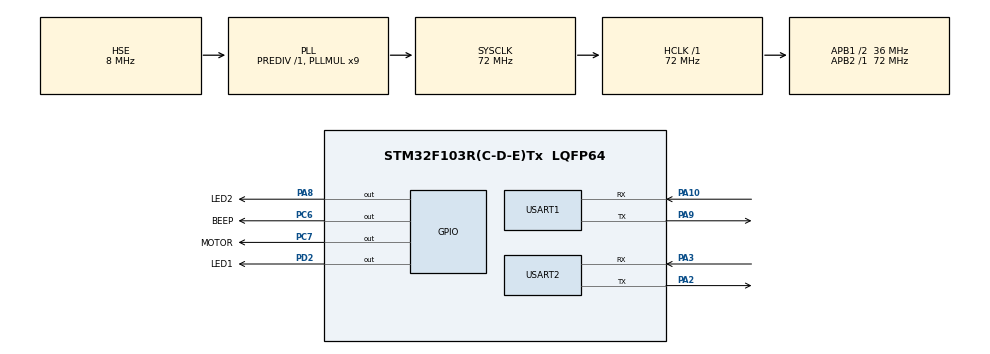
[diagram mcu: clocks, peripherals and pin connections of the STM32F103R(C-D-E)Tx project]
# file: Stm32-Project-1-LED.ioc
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Dma.Request0=USART2_RX
Dma.USART2_RX.0.Direction=DMA_PERIPH_TO_MEMORY
Dma.USART2_RX.0.Instance=DMA1_Channel6
Dma.USART2_RX.0.MemDataAlignment=DMA_MDATAALIGN_BYTE
Dma.USART2_RX.0.MemInc=DMA_MINC_ENABLE
Dma.USART2_RX.0.Mode=DMA_NORMAL
Dma.USART2_RX.0.PeriphDataAlignment=DMA_PDATAALIGN_BYTE
Dma.USART2_RX.0.PeriphInc=DMA_PINC_DISABLE
Dma.USART2_RX.0.Priority=DMA_PRIORITY_LOW
Mcu.Family=STM32F1
Mcu.Name=STM32F103R(C-D-E)Tx
Mcu.Package=LQFP64
NVIC.DMA1_Channel6_IRQn=true\:0\:0\:false\:false\:true\:false\:true\:true
NVIC.PriorityGroup=NVIC_PRIORITYGROUP_4
NVIC.USART2_IRQn=true\:0\:0\:false\:false\:true\:true\:true\:true
PA10.Mode=Asynchronous
PA10.Signal=USART1_RX
PA13.Mode=Serial_Wire
PA13.Signal=SYS_JTMS-SWDIO
PA14.Mode=Serial_Wire
PA14.Signal=SYS_JTCK-SWCLK
PA2.Mode=Asynchronous
PA2.Signal=USART2_TX
PA3.Mode=Asynchronous
PA3.Signal=USART2_RX
PA8.GPIO_Label=LED2
PA8.GPIO_PuPd=GPIO_PULLUP
PA8.GPIO_Speed=GPIO_SPEED_FREQ_HIGH
PA8.PinState=GPIO_PIN_SET
PA8.Signal=GPIO_Output
PA9.Mode=Asynchronous
PA9.Signal=USART1_TX
PC6.GPIO_Label=BEEP
PC6.GPIO_PuPd=GPIO_PULLUP
PC6.GPIO_Speed=GPIO_SPEED_FREQ_HIGH
PC6.PinState=GPIO_PIN_RESET
PC6.Signal=GPIO_Output
PC7.GPIO_Label=MOTOR
PC7.GPIO_PuPd=GPIO_PULLUP
PC7.GPIO_Speed=GPIO_SPEED_FREQ_HIGH
PC7.Signal=GPIO_Output
PD0-OSC_IN.Mode=HSE-External-Oscillator
PD0-OSC_IN.Signal=RCC_OSC_IN
PD1-OSC_OUT.Mode=HSE-External-Oscillator
PD1-OSC_OUT.Signal=RCC_OSC_OUT
PD2.GPIO_Label=LED1
PD2.GPIO_PuPd=GPIO_PULLUP
PD2.GPIO_Speed=GPIO_SPEED_FREQ_HIGH
PD2.PinState=GPIO_PIN_SET
PD2.Signal=GPIO_Output
ProjectManager.HeapSize=0x200
ProjectManager.StackSize=0x400
ProjectManager.TargetToolchain=MDK-ARM V5.32
RCC.AHBFreq_Value=72000000
RCC.APB1CLKDivider=RCC_HCLK_DIV2
RCC.APB1Freq_Value=36000000
RCC.APB1TimFreq_Value=72000000
RCC.APB2Freq_Value=72000000
RCC.APB2TimFreq_Value=72000000
RCC.HCLKFreq_Value=72000000
RCC.PLLMUL=RCC_PLL_MUL9
RCC.PLLSourceVirtual=RCC_PLLSOURCE_HSE
RCC.SYSCLKFreq_VALUE=72000000
RCC.SYSCLKSource=RCC_SYSCLKSOURCE_PLLCLK
RCC.USBFreq_Value=72000000
TIM4.AutoReloadPreload=TIM_AUTORELOAD_PRELOAD_ENABLE
TIM4.Period=49999
TIM4.Prescaler=7199
USART1.VirtualMode=VM_ASYNC
USART2.VirtualMode=VM_ASYNC
VP_TIM4_VS_ClockSourceINT.Mode=Internal
board=custom

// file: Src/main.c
/* USER CODE BEGIN Header */
/**
  ******************************************************************************
  * @file           : main.c
  * @brief          : Main program body
  ******************************************************************************
  * @attention
  *
  * Copyright (c) 2023 STMicroelectronics.
  * All rights reserved.
  *
  * This software is licensed under terms that can be found in the LICENSE file
  * in the root directory of this software component.
  * If no LICENSE file comes with this software, it is provided AS-IS.
  *
  ******************************************************************************
  */
/* USER CODE END Header */
#include "main.h"
#include "dma.h"
#include "tim.h"
#include "usart.h"
#include "gpio.h"

/* USER CODE BEGIN Includes */
#include "cJSON.h"
#include "stdio.h"
#include "string.h"
/* USER CODE END Includes */

/* USER CODE BEGIN PV */
char ss[1000]="";
char IDstr[20]="222154101127";
/* USER CODE END PV */

void SystemClock_Config(void);

/* USER CODE BEGIN 0 */
int fputc(int ch,FILE *f)
{
	HAL_UART_Transmit(&huart1,(uint8_t *) &ch,1,0xfff);
	return ch;
}

int buildJsonData(char *ss)//构建数据格式
{
	char *cjson_print_buf;
	int len=0;
	cJSON *reported_obj;
	cJSON *device_obj;

	reported_obj=cJSON_CreateObject();
	device_obj=cJSON_CreateObject();

	cJSON_AddStringToObject(device_obj,"ID",IDstr);
	cJSON_AddNumberToObject(reported_obj,"LightIntensity",1057);

	cJSON_AddNumberToObject(reported_obj,"Temp",23.1);

	cJSON_AddNumberToObject(reported_obj,"Humidity",78.3);
	cJSON_AddItemToObject(device_obj,"Devices",reported_obj);

	cjson_print_buf=cJSON_Print(device_obj);
	if(cjson_print_buf!=NULL)
	{
		len=snprintf(ss,2000,"%s",cjson_print_buf);
		cJSON_free(cjson_print_buf);
	}
	cJSON_Delete(device_obj);

	return len;
}

/*{
	"Id":	"222154101127",
	"Devices":	{
		"LED1":		"ON",
		"BEEP":		"OFF",
		"MOTOR":	"OFF"
	}
}*/
int AnalysisJsonData(char *ss)//解析数据//
{
	int ret=0;
	cJSON *receive_obj;//接收整体数据
	cJSON *device_obj;//接收主体项
	cJSON *item_obj;//接收子项
	char *str;
	receive_obj=cJSON_Parse((char *)ss);//转化为cjson格式//
//	printf("A0\r\n");
	if(receive_obj==NULL)
	{
		return ret;
	}
	device_obj=cJSON_GetObjectItem(receive_obj,"ID");//获取ID这一项//
//	printf("A1\r\n");
	if(strcmp(device_obj->valuestring,IDstr))//比较ID,不是则返回//
	{
		ret=1;
		return ret;
	}
	device_obj=cJSON_GetObjectItem(receive_obj,"Devices");//获取Devices这一项
//	printf("A2\r\n");
	item_obj=device_obj->child;//指向Devices中的子项//

	while(item_obj)//分别比较Devices中的子项:LED/BEEP/MOTOR
	{
		//printf("A3\r\n");
		str=item_obj->string;//获取子项中字符串//
		if(!strcmp(str,"LED1"))//判断是否为LED1
		{
//			printf("AN\r\n");
			if(strcmp(item_obj->valuestring,"ON")==0)
			{
				HAL_GPIO_WritePin(LED1_GPIO_Port,LED1_Pin,GPIO_PIN_RESET);
				printf("LED1 ON\r\n");
				ret=2;
			}
			else if(strcmp(item_obj->valuestring,"OFF")==0)
			{
				HAL_GPIO_WritePin(LED1_GPIO_Port,LED1_Pin,GPIO_PIN_SET);
				printf("LED1 OFF\r\n");
				ret=3;
			}
		}
		if(!strcmp(str,"BEEP"))//与上同理//
		{
			if(strcmp(item_obj->valuestring,"ON")==0)
			{
				HAL_GPIO_WritePin(LED2_GPIO_Port,LED2_Pin,GPIO_PIN_RESET);//RESET
				printf("BEEP ON\r\n");
				ret=4;
			}
			else if(strcmp(item_obj->valuestring,"OFF")==0)
			{
				HAL_GPIO_WritePin(LED2_GPIO_Port,LED2_Pin,GPIO_PIN_SET);
				printf("BEEP OFF\r\n");
				ret=5;
			}
		}
		if(!strcmp(str,"MOTOR"))//与上同理//
		{
			if(strcmp(item_obj->valuestring,"ON")==0)
			{
				HAL_GPIO_WritePin(MOTOR_GPIO_Port,MOTOR_Pin,GPIO_PIN_SET);//RESET
				printf("MOTOR ON\r\n");
				ret=6;
			}
			else if(strcmp(item_obj->valuestring,"OFF")==0)
			{
				HAL_GPIO_WritePin(MOTOR_GPIO_Port,MOTOR_Pin,GPIO_PIN_RESET);
				printf("MOTOR OFF\r\n");
				ret=7;
			}
		}
		item_obj=item_obj->next;//获取下一个子项
	}
	cJSON_Delete(receive_obj);//释放数据
	return ret;
}

/* USER CODE END 0 */

int main(void)
{

  /* MCU Configuration--------------------------------------------------------*/

  /* Reset of all peripherals, Initializes the Flash interface and the Systick. */
  HAL_Init();

  /* Configure the system clock */
  SystemClock_Config();

  /* Initialize all configured peripherals */
  MX_GPIO_Init();
  MX_DMA_Init();
  MX_USART1_UART_Init();
  MX_USART2_UART_Init();
  MX_TIM4_Init();
  /* USER CODE BEGIN 2 */
	HAL_UARTEx_ReceiveToIdle_DMA(&huart2,Uart2_rx_buffer,BUF_SIZE);//&huart2
  /* USER CODE END 2 */

  /* Infinite loop */
  /* USER CODE BEGIN WHILE */
  while (1)
  {
		buildJsonData(ss);
		HAL_UART_Transmit(&huart2,(uint8_t *)ss,strlen(ss),0xffff);	//将接收到的数据再发回上位机
		HAL_UART_Transmit(&huart1,(uint8_t *)ss,strlen(ss),0xffff);
		memset(ss,0,1000);//清空数据
		HAL_Delay(2000);
    /* USER CODE END WHILE */

  }
}

void SystemClock_Config(void)
{
  RCC_OscInitTypeDef RCC_OscInitStruct = {0};
  RCC_ClkInitTypeDef RCC_ClkInitStruct = {0};

  /** Initializes the RCC Oscillators according to the specified parameters
  * in the RCC_OscInitTypeDef structure.
  */
  RCC_OscInitStruct.OscillatorType = RCC_OSCILLATORTYPE_HSE;
  RCC_OscInitStruct.HSEState = RCC_HSE_ON;
  RCC_OscInitStruct.HSEPredivValue = RCC_HSE_PREDIV_DIV1;
  RCC_OscInitStruct.HSIState = RCC_HSI_ON;
  RCC_OscInitStruct.PLL.PLLState = RCC_PLL_ON;
  RCC_OscInitStruct.PLL.PLLSource = RCC_PLLSOURCE_HSE;
  RCC_OscInitStruct.PLL.PLLMUL = RCC_PLL_MUL9;
  if (HAL_RCC_OscConfig(&RCC_OscInitStruct) != HAL_OK)
  {
    Error_Handler();
  }

  /** Initializes the CPU, AHB and APB buses clocks
  */
  RCC_ClkInitStruct.ClockType = RCC_CLOCKTYPE_HCLK|RCC_CLOCKTYPE_SYSCLK
                              |RCC_CLOCKTYPE_PCLK1|RCC_CLOCKTYPE_PCLK2;
  RCC_ClkInitStruct.SYSCLKSource = RCC_SYSCLKSOURCE_PLLCLK;
  RCC_ClkInitStruct.AHBCLKDivider = RCC_SYSCLK_DIV1;
  RCC_ClkInitStruct.APB1CLKDivider = RCC_HCLK_DIV2;
  RCC_ClkInitStruct.APB2CLKDivider = RCC_HCLK_DIV1;

  if (HAL_RCC_ClockConfig(&RCC_ClkInitStruct, FLASH_LATENCY_2) != HAL_OK)
  {
    Error_Handler();
  }
}

void Error_Handler(void)
{
  __disable_irq();
  while (1)
  {
  }
}
